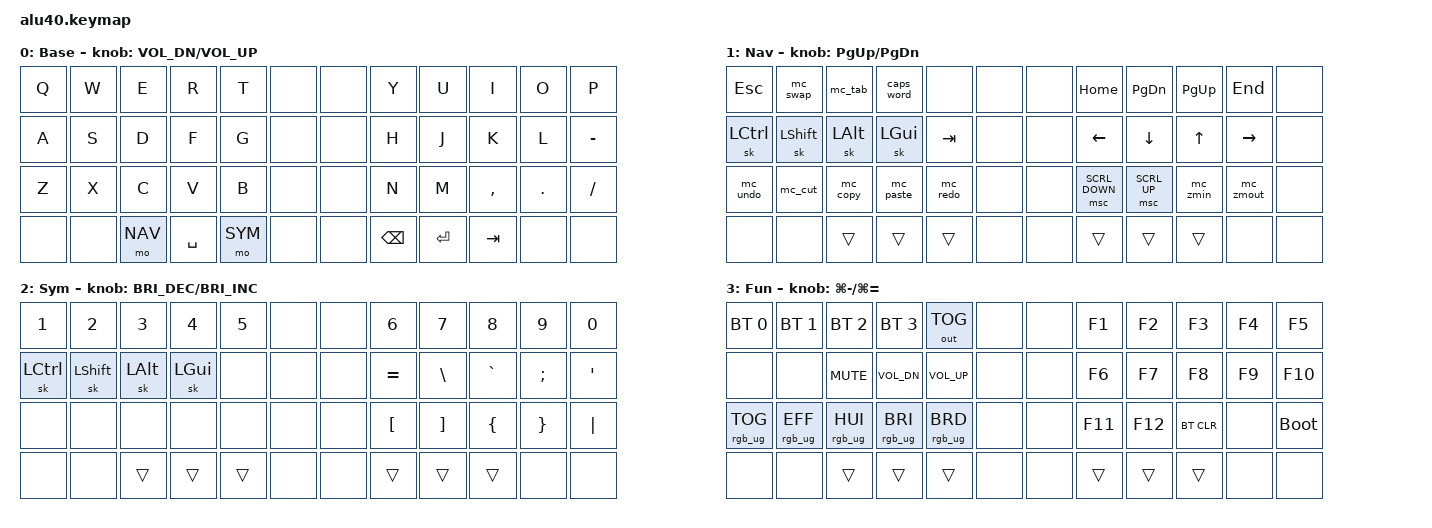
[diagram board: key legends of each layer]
/*
 * ALU40 v2 (4x12 ortho, 48keys)
 *
 * 正本 = Keyboardio Atreus の custom キーマップ
 *   qmk_atreus/keyboards/keyboardio/atreus/keymaps/custom/keymap.c
 * hold-tap 完全排除、Callum式 One-Shot ベース。
 *
 * Atreus の LAYOUT は 4行（下2行が12キー）なので、上2行に中央2キーを
 * 足すだけで 4x12 に一対一で載る。配置は一切変えていない。
 *
 *   row0/row1: 左5 | 中央2(&none) | 右5
 *   row2/row3: Atreus の 12キーをそのまま
 *
 * NightGlide との差分: 右親指の TAB。NightGlide 側を採用した（2026-10-09 緒方さん決定）。
 * NightGlide のマウス操作（NAV 右端列）は不採用。
 *
 * ALU40 固有（Atreus に無いもの）は FUN レイヤーの「Atreus で空き」の
 * 位置だけに追加した: Bluetooth・RGB・bootloader・エンコーダ。
 * ext_power は不要（CONFIG_ZMK_RGB_UNDERGLOW_EXT_POWER=y なので RGB_TOG が兼ねる）。
 * ZMK Studio は使わない方針のため &studio_unlock は置かない。
 */

#include <behaviors.dtsi>
#include <dt-bindings/zmk/bt.h>
#include <dt-bindings/zmk/keys.h>
#include <dt-bindings/zmk/outputs.h>
#include <dt-bindings/zmk/rgb.h>
#include <dt-bindings/zmk/pointing.h>

#define BASE 0
#define NAV  1
#define SYM  2
#define FUN  3

/ {
    /*
     * Sticky key を Callum 式に寄せる。
     *  - release-after-ms を長めに（Callum 式はタイムアウト無し）
     *  - quick-release: 次キーの押下時点で解除
     *  - ignore-modifiers: 修飾同士を重ねられる（Ctrl+Shift 等）
     */
    behaviors {
        sk: sticky_key {
            compatible = "zmk,behavior-sticky-key";
            #binding-cells = <1>;
            bindings = <&kp>;
            release-after-ms = <2000>;
            quick-release;
            ignore-modifiers;
        };
    };

    macros {
        // Swapper（Cmd+Tab: キーを離すまでCmdを保持）
        mc_swap: mc_swap {
            compatible = "zmk,behavior-macro";
            #binding-cells = <0>;
            wait-ms = <30>;
            tap-ms = <30>;
            bindings = <&macro_press &kp LGUI>, <&macro_tap &kp TAB>, <&macro_pause_for_release>, <&macro_release &kp LGUI>;
        };
        // Tabber（Ctrl+Tab: キーを離すまでCtrlを保持）
        mc_tab: mc_tab {
            compatible = "zmk,behavior-macro";
            #binding-cells = <0>;
            wait-ms = <30>;
            tap-ms = <30>;
            bindings = <&macro_press &kp LCTRL>, <&macro_tap &kp TAB>, <&macro_pause_for_release>, <&macro_release &kp LCTRL>;
        };
        // Undo (Cmd+Z)
        mc_undo: mc_undo {
            compatible = "zmk,behavior-macro";
            #binding-cells = <0>;
            wait-ms = <30>;
            tap-ms = <30>;
            bindings = <&macro_press &kp LGUI>, <&macro_tap &kp Z>, <&macro_release &kp LGUI>;
        };
        // Cut (Cmd+X)
        mc_cut: mc_cut {
            compatible = "zmk,behavior-macro";
            #binding-cells = <0>;
            wait-ms = <30>;
            tap-ms = <30>;
            bindings = <&macro_press &kp LGUI>, <&macro_tap &kp X>, <&macro_release &kp LGUI>;
        };
        // Copy (Cmd+C)
        mc_copy: mc_copy {
            compatible = "zmk,behavior-macro";
            #binding-cells = <0>;
            wait-ms = <30>;
            tap-ms = <30>;
            bindings = <&macro_press &kp LGUI>, <&macro_tap &kp C>, <&macro_release &kp LGUI>;
        };
        // Paste (Cmd+V)
        mc_paste: mc_paste {
            compatible = "zmk,behavior-macro";
            #binding-cells = <0>;
            wait-ms = <30>;
            tap-ms = <30>;
            bindings = <&macro_press &kp LGUI>, <&macro_tap &kp V>, <&macro_release &kp LGUI>;
        };
        // Redo (Cmd+Shift+Z)
        mc_redo: mc_redo {
            compatible = "zmk,behavior-macro";
            #binding-cells = <0>;
            wait-ms = <30>;
            tap-ms = <30>;
            bindings = <&macro_press &kp LGUI>, <&macro_press &kp LSHFT>, <&macro_tap &kp Z>, <&macro_release &kp LSHFT>, <&macro_release &kp LGUI>;
        };
        // Zoom In (Cmd+=)
        mc_zmin: mc_zmin {
            compatible = "zmk,behavior-macro";
            #binding-cells = <0>;
            wait-ms = <30>;
            tap-ms = <30>;
            bindings = <&macro_press &kp LGUI>, <&macro_tap &kp EQUAL>, <&macro_release &kp LGUI>;
        };
        // Zoom Out (Cmd+-)
        mc_zmout: mc_zmout {
            compatible = "zmk,behavior-macro";
            #binding-cells = <0>;
            wait-ms = <30>;
            tap-ms = <30>;
            bindings = <&macro_press &kp LGUI>, <&macro_tap &kp MINUS>, <&macro_release &kp LGUI>;
        };
    };

    // --- Combos ---
    // キー位置（4x12 = 0..47）
    //   row0:  0  1  2  3  4 |  5  6 |  7  8  9 10 11
    //   row1: 12 13 14 15 16 | 17 18 | 19 20 21 22 23
    //   row2: 24 25 26 27 28 | 29 30 | 31 32 33 34 35
    //   row3: 36 37 38 39 40 | 41 42 | 43 44 45 46 47
    //   親指: NAV=38 SPC=39 SYM=40 | BSPC=43 ENT=44
    combos {
        compatible = "zmk,combos";


        // J + K → Caps Word（2026-11-12 緒方さん指示でコンボ化）
        // 旧: NAV層のキーに置いていた / 旧 D+F の tmux prefix コンボは廃止（「pdf」で誤発火）
        combo_caps_word {
            timeout-ms = <80>;
            require-prior-idle-ms = <150>;
            key-positions = <20 21>;
            bindings = <&caps_word>;
            layers = <BASE>;
        };

        // SPC(39) + BSPC(43) → LNG1 (IME ON)
        combo_lng1 {
            timeout-ms = <80>;
            require-prior-idle-ms = <150>;
            key-positions = <39 43>;
            bindings = <&kp LANGUAGE_1>;
            layers = <BASE>;
        };

        // BSPC(43) + ENT(44) → LNG2 (IME OFF)
        combo_lng2 {
            timeout-ms = <80>;
            require-prior-idle-ms = <150>;
            key-positions = <43 44>;
            bindings = <&kp LANGUAGE_2>;
            layers = <BASE>;
        };


        // --- ブートローダー / リセット（底面リセットボタンの代替・艦隊共通設計） ---
        // 「上段最外列 ＋ 文字下段(row2)の最内列」は共通で、**親指だけずらして**切替。
        //   親指内側          → &bootloader（焼き用・リセット2回押し相当）
        // ⚠️ 親指の物理配置（2026-11-12 緒方さん確認。キーマップの並び順と内外が逆）:
        //     左手 [NAV][SPC][SYM] │ 中央 │ [BSPC][ENT] 右手
        //           外側 →→→ 内側          内側 ←←← 外側
        //   ＝ **内側(中央寄り)は 左=SYM / 右=BSPC**。NAV は左の一番外側。
        //   親指内側から2番目 → &sys_reset （再起動・1回押し相当）
        // ★本機は**一体型(単一MCU)なので左側だけ**で足りる（分割機は片側USB接続で焼く
        //   ため左右それぞれに必要だが、一体型はその制約がない）。
        // ★FUN層にも &bootloader があるが、こちらはレイヤー不要で押せる。
        // ★layers 未指定＝全レイヤーで有効。3キーなので timeout は緩める。

        // bootloader — 上段最外(0) + row2最内(28) + SYM(40=親指内側＝中央寄り)
        combo_boot {
            timeout-ms = <100>;
            require-prior-idle-ms = <250>;
            key-positions = <0 28 40>;
            bindings = <&bootloader>;
        };

        // sys_reset — 上段最外(0) + row2最内(28) + SPC(39=内側から2番目)
        combo_reset {
            timeout-ms = <100>;
            require-prior-idle-ms = <250>;
            key-positions = <0 28 39>;
            bindings = <&sys_reset>;
        };
    };

    // --- Tri-Layer (NAV + SYM = FUN) ---
    conditional_layers {
        compatible = "zmk,conditional-layers";
        tri_layer {
            if-layers = <NAV SYM>;
            then-layer = <FUN>;
        };
    };

    keymap {
        compatible = "zmk,keymap";

        // Base — Atreus [_BASE] ＋ NightGlide の右親指 TAB
        //   Q    W    E    R    T  │  Y    U    I    O    P
        //   A    S    D    F    G  │  H    J    K    L    -
        //   Z    X    C    V    B  │  N    M    ,    .    /
        //             NAV  SPC  SYM│ BSPC ENT  TAB
        BASE_layer {
            display-name = "Base";
            bindings = <
&kp Q  &kp W  &kp E    &kp R    &kp T    &none  &none  &kp Y     &kp U    &kp I      &kp O    &kp P
&kp A  &kp S  &kp D    &kp F    &kp G    &none  &none  &kp H     &kp J    &kp K      &kp L    &kp MINUS
&kp Z  &kp X  &kp C    &kp V    &kp B    &none  &none  &kp N     &kp M    &kp COMMA  &kp DOT  &kp FSLH
&none  &none  &mo NAV  &kp SPC  &mo SYM  &none  &none  &kp BSPC  &kp RET  &kp TAB    &none    &none
            >;
            sensor-bindings = <&inc_dec_kp C_VOL_DN C_VOL_UP>;  // ノブ: 音量
        };

        // NAV（左内側親指）— Atreus [_NAV] と同一
        //   ESC  SWAP STAB CW   ---│ HOME PGDN PGUP END  ---
        //   skCTL skSFT skALT skGUI TAB│ LEFT DOWN UP  RGHT ---
        //   UNDO CUT  COPY PST  REDO│ ホイール↓ ホイール↑ ZMIN ZMOUT ---
        //   ※ホイールは NightGlide 由来（クリック3種は不採用＝ポインティング機が無いため）
        NAV_layer {
            display-name = "Nav";
            bindings = <
&kp ESC    &mc_swap   &mc_tab   &caps_word  &none     &none  &none  &kp HOME  &kp PG_DN  &kp PG_UP  &kp END    &none
&sk LCTRL  &sk LSHFT  &sk LALT  &sk LGUI    &kp TAB   &none  &none  &kp LEFT  &kp DOWN   &kp UP     &kp RIGHT  &none
&mc_undo   &mc_cut    &mc_copy  &mc_paste   &mc_redo  &none  &none  &msc SCRL_DOWN  &msc SCRL_UP  &mc_zmin   &mc_zmout  &none
&none      &none      &trans    &trans      &trans    &none  &none  &trans    &trans     &trans     &none      &none
            >;
            sensor-bindings = <&inc_dec_kp PG_UP PG_DN>;  // ノブ: ページ送り
        };

        // SYM（左外側親指）— Atreus [_SYM] と同一
        //   1    2    3    4    5  │  6    7    8    9    0
        //   skCTL skSFT skALT skGUI ---│ =    \    `    ;    '
        //   ---  ---  ---  ---  --- │  [    ]    {    }    |
        SYM_layer {
            display-name = "Sym";
            bindings = <
&kp N1     &kp N2     &kp N3    &kp N4    &kp N5  &none  &none  &kp N6     &kp N7    &kp N8     &kp N9    &kp N0
&sk LCTRL  &sk LSHFT  &sk LALT  &sk LGUI  &none   &none  &none  &kp EQUAL  &kp BSLH  &kp GRAVE  &kp SEMI  &kp SQT
&none      &none      &none     &none     &none   &none  &none  &kp LBKT   &kp RBKT  &kp LBRC   &kp RBRC  &kp PIPE
&none      &none      &trans    &trans    &trans  &none  &none  &trans     &trans    &trans     &none     &none
            >;
            sensor-bindings = <&inc_dec_kp C_BRI_DEC C_BRI_INC>;  // ノブ: 画面輝度
        };

        // FUN (NAV+SYM 同時) — Atreus [_FUN] と同一（左=ボリューム / 右=ファンクション）
        //   ★ALU40 固有は Atreus で空きだった位置にのみ追加
        //   BT0   BT1   BT2  BT3  USB⇄BT│ F1  F2   F3   F4   F5
        //   BT0=iPad mini / BT1=iPad Pro / BT2=iPhone / BT3=Mac
        //   ---   ---   MUTE VOLD VOLU│ F6   F7   F8   F9   F10  ← Atreus と同一
        //   RGBtg RGBef RGBhu RGB+ RGB-│ F11  F12  BTCLR ---    BOOT
        FUN_layer {
            display-name = "Fun";
            bindings = <
&bt BT_SEL 0     &bt BT_SEL 1      &bt BT_SEL 2     &bt BT_SEL 3     &out OUT_TOG     &none  &none  &kp F1   &kp F2   &kp F3      &kp F4        &kp F5
&none            &none             &kp K_MUTE       &kp K_VOL_DN     &kp K_VOL_UP     &none  &none  &kp F6   &kp F7   &kp F8      &kp F9        &kp F10
&rgb_ug RGB_TOG  &rgb_ug RGB_EFF   &rgb_ug RGB_HUI  &rgb_ug RGB_BRI  &rgb_ug RGB_BRD  &none  &none  &kp F11  &kp F12  &bt BT_CLR  &none         &bootloader
&none            &none             &trans           &trans           &trans           &none  &none  &trans   &trans   &trans      &none         &none
            >;
            sensor-bindings = <&inc_dec_kp LG(MINUS) LG(EQUAL)>;  // ノブ: ズーム
        };
    };
};
